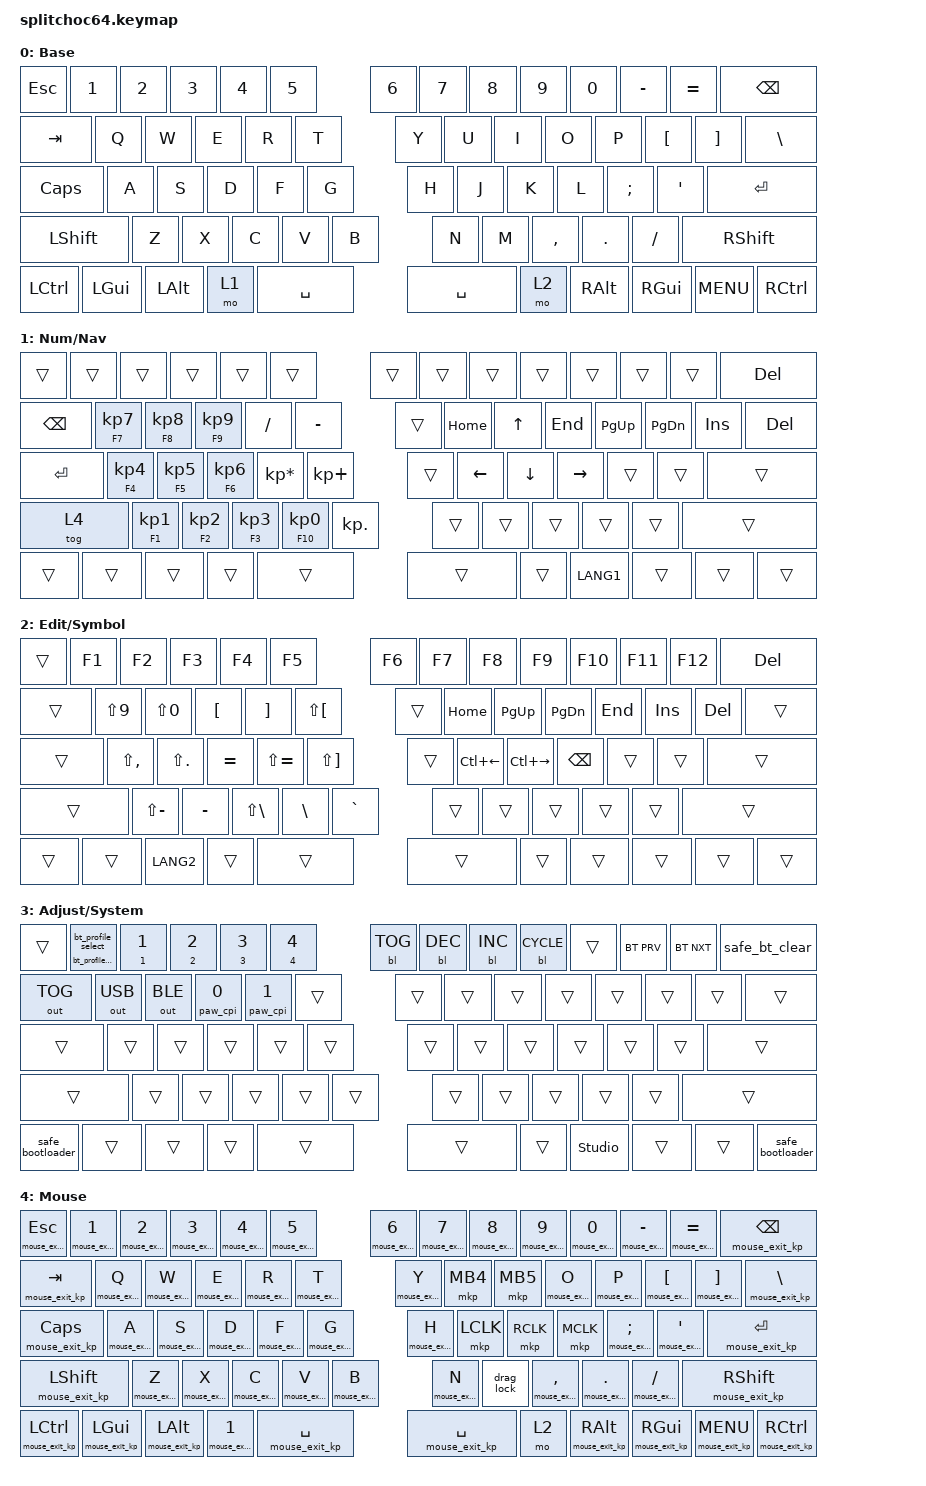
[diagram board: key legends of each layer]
#include <behaviors.dtsi>
#include <dt-bindings/zmk/keys.h>
#include <dt-bindings/zmk/bt.h>
#include <dt-bindings/zmk/outputs.h>
#include <dt-bindings/zmk/pointing.h>
#include <dt-bindings/zmk/backlight.h>

/ {
    behaviors {
        numfn: numfn {
            compatible = "zmk,behavior-hold-tap";
            #binding-cells = <2>;
            flavor = "tap-preferred";
            tapping-term-ms = <250>;
            bindings = <&kp>, <&kp>;
        };

        mouse_exit_kp: mouse_exit_kp {
            compatible = "zmk,behavior-macro-one-param";
            #binding-cells = <1>;
            wait-ms = <0>;
            tap-ms = <5>;
            bindings =
                <&to 0>,
                <&macro_param_1to1>,
                <&macro_press &kp MACRO_PLACEHOLDER>,
                <&macro_pause_for_release>,
                <&macro_param_1to1>,
                <&macro_release &kp MACRO_PLACEHOLDER>;
        };

        mouse_exit_mo: mouse_exit_mo {
            compatible = "zmk,behavior-macro-one-param";
            #binding-cells = <1>;
            wait-ms = <0>;
            tap-ms = <5>;
            bindings =
                <&to 0>,
                <&macro_param_1to1>,
                <&macro_press &mo MACRO_PLACEHOLDER>,
                <&macro_pause_for_release>,
                <&macro_param_1to1>,
                <&macro_release &mo MACRO_PLACEHOLDER>;
        };

        bt_profile_select: bt_profile_select {
            compatible = "zmk,behavior-macro-one-param";
            #binding-cells = <1>;
            wait-ms = <0>;
            tap-ms = <5>;
            bindings =
                <&macro_param_1to2>,
                <&bt BT_SEL MACRO_PLACEHOLDER>,
                <&out OUT_BLE>;
        };

        bt_profile_pair: bt_profile_pair {
            compatible = "zmk,behavior-macro-one-param";
            #binding-cells = <1>;
            wait-ms = <0>;
            tap-ms = <5>;
            bindings =
                <&macro_param_1to2>,
                <&bt BT_SEL MACRO_PLACEHOLDER>,
                <&bt BT_CLR>,
                <&out OUT_BLE>;
        };

        bt_profile: bt_profile {
            compatible = "zmk,behavior-hold-tap";
            #binding-cells = <2>;
            flavor = "tap-preferred";
            tapping-term-ms = <600>;
            bindings = <&bt_profile_pair>, <&bt_profile_select>;
        };

        safe_bt_clear: safe_bt_clear {
            compatible = "zmk,behavior-tap-dance";
            #binding-cells = <0>;
            tapping-term-ms = <350>;
            bindings = <&none>, <&bt BT_CLR>;
        };

        safe_bootloader: safe_bootloader {
            compatible = "zmk,behavior-tap-dance";
            #binding-cells = <0>;
            tapping-term-ms = <350>;
            bindings = <&none>, <&bootloader>;
        };

        drag_lock: drag_lock {
            compatible = "zmk,behavior-mouse-button-toggle";
            #binding-cells = <0>;
        };

        paw_cpi: paw_cpi {
            compatible = "zmk,behavior-paw3222-cpi";
            #binding-cells = <1>;
        };
    };

    drag_lock_listener: drag_lock_listener {
        compatible = "zmk,input-listener";
        device = <&drag_lock>;
    };

    keymap {
        compatible = "zmk,keymap";

        lay0 {
            display-name = "Base";
            bindings = <
            &kp ESC &kp N1 &kp N2 &kp N3 &kp N4 &kp N5 &kp N6 &kp N7 &kp N8 &kp N9 &kp N0 &kp MINUS &kp EQUAL &kp BSPC
            &kp TAB &kp Q &kp W &kp E &kp R &kp T &kp Y &kp U &kp I &kp O &kp P &kp LBKT &kp RBKT &kp BSLH
            &kp CAPS &kp A &kp S &kp D &kp F &kp G &kp H &kp J &kp K &kp L &kp SEMI &kp SQT &kp ENTER
            &kp LSHIFT &kp Z &kp X &kp C &kp V &kp B &kp N &kp M &kp COMMA &kp DOT &kp FSLH &kp RSHIFT
            &kp LCTRL &kp LGUI &kp LALT &mo 1 &kp SPACE &kp SPACE &mo 2 &kp RALT &kp RGUI &kp K_MENU &kp RCTRL
            >;
        };

        lay1 {
            display-name = "Num/Nav";
            bindings = <
            &trans &trans &trans &trans &trans &trans &trans &trans &trans &trans &trans &trans &trans &kp DEL
            &kp BSPC &numfn F7 KP_N7 &numfn F8 KP_N8 &numfn F9 KP_N9 &kp FSLH &kp MINUS &trans &kp HOME &kp UP &kp END &kp PG_UP &kp PG_DN &kp INS &kp DEL
            &kp ENTER &numfn F4 KP_N4 &numfn F5 KP_N5 &numfn F6 KP_N6 &kp KP_MULTIPLY &kp KP_PLUS &trans &kp LEFT &kp DOWN &kp RIGHT &trans &trans &trans
            &tog 4 &numfn F1 KP_N1 &numfn F2 KP_N2 &numfn F3 KP_N3 &numfn F10 KP_N0 &kp KP_DOT &trans &trans &trans &trans &trans &trans
            &trans &trans &trans &trans &trans &trans &trans &kp LANG1 &trans &trans &trans
            >;
        };

        lay2 {
            display-name = "Edit/Symbol";
            bindings = <
            &trans &kp F1 &kp F2 &kp F3 &kp F4 &kp F5 &kp F6 &kp F7 &kp F8 &kp F9 &kp F10 &kp F11 &kp F12 &kp DEL
            &trans &kp LS(N9) &kp LS(N0) &kp LBKT &kp RBKT &kp LS(LBKT) &trans &kp HOME &kp PG_UP &kp PG_DN &kp END &kp INS &kp DEL &trans
            &trans &kp LS(COMMA) &kp LS(DOT) &kp EQUAL &kp LS(EQUAL) &kp LS(RBKT) &trans &kp LC(LEFT) &kp LC(RIGHT) &kp BSPC &trans &trans &trans
            &trans &kp LS(MINUS) &kp MINUS &kp LS(BSLH) &kp BSLH &kp GRAVE &trans &trans &trans &trans &trans &trans
            &trans &trans &kp LANG2 &trans &trans &trans &trans &trans &trans &trans &trans
            >;
        };

        lay3 {
            display-name = "Adjust/System";
            bindings = <
            &trans &bt_profile 0 0 &bt_profile 1 1 &bt_profile 2 2 &bt_profile 3 3 &bt_profile 4 4 &bl BL_TOG &bl BL_DEC &bl BL_INC &bl BL_CYCLE &trans &bt BT_PRV &bt BT_NXT &safe_bt_clear
            &out OUT_TOG &out OUT_USB &out OUT_BLE &paw_cpi 0 &paw_cpi 1 &trans &trans &trans &trans &trans &trans &trans &trans &trans
            &trans &trans &trans &trans &trans &trans &trans &trans &trans &trans &trans &trans &trans
            &trans &trans &trans &trans &trans &trans &trans &trans &trans &trans &trans &trans
            &safe_bootloader &trans &trans &trans &trans &trans &trans &studio_unlock &trans &trans &safe_bootloader
            >;
        };

        lay4 {
            display-name = "Mouse";
            bindings = <
            &mouse_exit_kp ESC &mouse_exit_kp N1 &mouse_exit_kp N2 &mouse_exit_kp N3 &mouse_exit_kp N4 &mouse_exit_kp N5 &mouse_exit_kp N6 &mouse_exit_kp N7 &mouse_exit_kp N8 &mouse_exit_kp N9 &mouse_exit_kp N0 &mouse_exit_kp MINUS &mouse_exit_kp EQUAL &mouse_exit_kp BSPC
            &mouse_exit_kp TAB &mouse_exit_kp Q &mouse_exit_kp W &mouse_exit_kp E &mouse_exit_kp R &mouse_exit_kp T &mouse_exit_kp Y &mkp MB4 &mkp MB5 &mouse_exit_kp O &mouse_exit_kp P &mouse_exit_kp LBKT &mouse_exit_kp RBKT &mouse_exit_kp BSLH
            &mouse_exit_kp CAPS &mouse_exit_kp A &mouse_exit_kp S &mouse_exit_kp D &mouse_exit_kp F &mouse_exit_kp G &mouse_exit_kp H &mkp LCLK &mkp RCLK &mkp MCLK &mouse_exit_kp SEMI &mouse_exit_kp SQT &mouse_exit_kp ENTER
            &mouse_exit_kp LSHIFT &mouse_exit_kp Z &mouse_exit_kp X &mouse_exit_kp C &mouse_exit_kp V &mouse_exit_kp B &mouse_exit_kp N &drag_lock &mouse_exit_kp COMMA &mouse_exit_kp DOT &mouse_exit_kp FSLH &mouse_exit_kp RSHIFT
            &mouse_exit_kp LCTRL &mouse_exit_kp LGUI &mouse_exit_kp LALT &mouse_exit_mo 1 &mouse_exit_kp SPACE &mouse_exit_kp SPACE &mo 2 &mouse_exit_kp RALT &mouse_exit_kp RGUI &mouse_exit_kp K_MENU &mouse_exit_kp RCTRL
            >;
        };
    };

    conditional_layers {
        compatible = "zmk,conditional-layers";

        lay3_when_both_fn_held {
            if-layers = <1 2>;
            then-layer = <3>;
        };
    };
};
